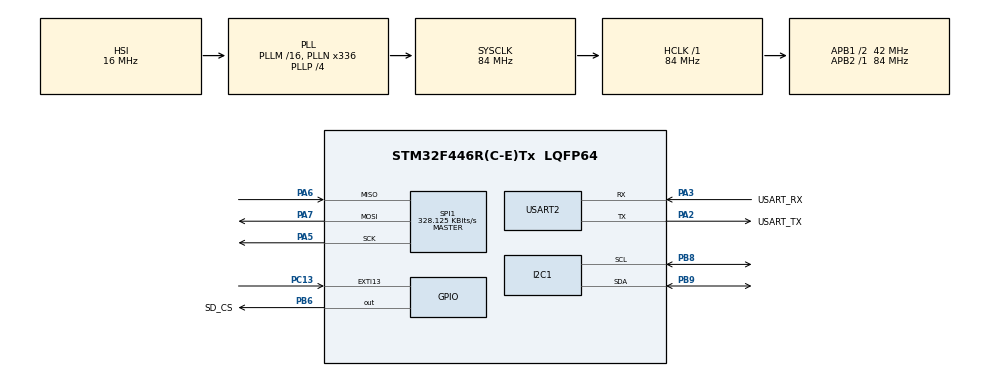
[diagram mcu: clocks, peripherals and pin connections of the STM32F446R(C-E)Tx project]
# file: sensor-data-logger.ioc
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Mcu.Family=STM32F4
Mcu.Name=STM32F446R(C-E)Tx
Mcu.Package=LQFP64
NUCLEO-F446RE.BUTTON=1
NUCLEO-F446RE.LD1=true
NVIC.EXTI15_10_IRQn=true\:0\:0\:false\:false\:true\:false\:true\:true
NVIC.PriorityGroup=NVIC_PRIORITYGROUP_0
NVIC.TIM6_DAC_IRQn=true\:0\:0\:false\:false\:true\:true\:true\:true
PA13.GPIO_Label=TMS
PA13.Mode=Serial_Wire
PA13.Signal=SYS_JTMS-SWDIO
PA14.GPIO_Label=TCK
PA14.Mode=Serial_Wire
PA14.Signal=SYS_JTCK-SWCLK
PA2.GPIO_Label=USART_TX
PA2.Mode=Asynchronous
PA2.Signal=USART2_TX
PA3.GPIO_Label=USART_RX
PA3.Mode=Asynchronous
PA3.Signal=USART2_RX
PA5.Mode=Full_Duplex_Master
PA5.Signal=SPI1_SCK
PA6.Mode=Full_Duplex_Master
PA6.Signal=SPI1_MISO
PA7.Mode=Full_Duplex_Master
PA7.Signal=SPI1_MOSI
PB10.Signal=SPI2_SCK
PB3.GPIO_Label=SWO
PB3.Signal=SYS_JTDO-SWO
PB6.GPIO_Label=SD_CS
PB6.GPIO_Speed=GPIO_SPEED_FREQ_HIGH
PB6.PinState=GPIO_PIN_SET
PB6.Signal=GPIO_Output
PB8.Mode=I2C
PB8.Signal=I2C1_SCL
PB9.Mode=I2C
PB9.Signal=I2C1_SDA
PC13.Signal=GPXTI13
PC14-OSC32_IN.Signal=RCC_OSC32_IN
PC15-OSC32_OUT.Signal=RCC_OSC32_OUT
PH0-OSC_IN.Signal=RCC_OSC_IN
PH1-OSC_OUT.Signal=RCC_OSC_OUT
ProjectManager.HeapSize=0x200
ProjectManager.StackSize=0x400
ProjectManager.TargetToolchain=CMake
RCC.AHBFreq_Value=84000000
RCC.APB1CLKDivider=RCC_HCLK_DIV2
RCC.APB1Freq_Value=42000000
RCC.APB1TimFreq_Value=84000000
RCC.APB2Freq_Value=84000000
RCC.APB2TimFreq_Value=84000000
RCC.CortexFreq_Value=84000000
RCC.FLatency-AdvancedSettings=FLASH_LATENCY_2
RCC.HCLKFreq_Value=84000000
RCC.HSE_VALUE=8000000
RCC.HSI_VALUE=16000000
RCC.LSE_VALUE=32768
RCC.PLLN=336
RCC.PLLP=RCC_PLLP_DIV4
RCC.SYSCLKFreq_VALUE=84000000
RCC.SYSCLKSource=RCC_SYSCLKSOURCE_PLLCLK
RCC.USBFreq_Value=168000000
RCC.VCOOutputFreq_Value=336000000
SPI1.BaudRatePrescaler=SPI_BAUDRATEPRESCALER_256
SPI1.CalculateBaudRate=328.125 KBits/s
SPI1.Direction=SPI_DIRECTION_2LINES
SPI1.Mode=SPI_MODE_MASTER
SPI1.VirtualType=VM_MASTER
TIM6.Period=999
TIM6.Prescaler=8399
USART2.VirtualMode=VM_ASYNC
VP_FATFS_VS_Generic.Mode=User_defined
VP_NUCLEO-F446RE_VS_BSP_COMMON.Mode=COMMON
VP_TIM6_VS_ClockSourceINT.Mode=Enable_Timer
board=NUCLEO-F446RE

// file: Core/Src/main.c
/* USER CODE BEGIN Header */
/**
  ******************************************************************************
  * @file           : main.c
  * @brief          : Main program body
  ******************************************************************************
  * @attention
  *
  * Copyright (c) 2026 STMicroelectronics.
  * All rights reserved.
  *
  * This software is licensed under terms that can be found in the LICENSE file
  * in the root directory of this software component.
  * If no LICENSE file comes with this software, it is provided AS-IS.
  *
  ******************************************************************************
  */
/* USER CODE END Header */
#include "main.h"
#include "fatfs.h"
#include "i2c.h"
#include "spi.h"
#include "tim.h"
#include "usart.h"
#include "gpio.h"

/* USER CODE BEGIN Includes */
// ttyACM0
#include <stdio.h>
#include <string.h>
#include "bme280.h"
#include "mpu6050.h"

/* USER CODE END Includes */

/* USER CODE BEGIN PD */
#define SAMPLE_BUFFER_SIZE 10

/* USER CODE END PD */

/* USER CODE BEGIN PV */
volatile uint8_t sensor_sample_flag = 0; // activated by TIM6

typedef struct {
  uint32_t timestamp_ms;

  float temperature;
  float pressure;
  float humidity;

  MPU6050_Data mpu;
} SensorSample;

SensorSample sample;
SensorSample sample_buffer[SAMPLE_BUFFER_SIZE];
uint8_t sample_count = 0;

/* USER CODE END PV */

void SystemClock_Config(void);

int main(void)
{

  /* MCU Configuration--------------------------------------------------------*/

  /* Reset of all peripherals, Initializes the Flash interface and the Systick. */
  HAL_Init();

  /* Configure the system clock */
  SystemClock_Config();

  /* Initialize all configured peripherals */
  MX_GPIO_Init();
  MX_I2C1_Init();
  MX_TIM6_Init();
  MX_USART2_UART_Init();
  MX_FATFS_Init();
  MX_SPI1_Init();
  /* USER CODE BEGIN 2 */
  BME280_Calibration calib;
  MPU6050_Data mpu_data;

  if (BME280_Init(&hi2c1, &calib) == HAL_OK) {
    char init_msg[] = "BME280 initialized!\r\n";
    HAL_UART_Transmit(&huart2, (uint8_t *)init_msg, strlen(init_msg), HAL_MAX_DELAY);
  } else {
    char init_msg[] = "BME280 initialization failed!\r\n";
    HAL_UART_Transmit(&huart2, (uint8_t *)init_msg, strlen(init_msg), HAL_MAX_DELAY);
  }

  if (MPU6050_Init(&hi2c1) == HAL_OK) {
    char init_msg[] = "MPU6050 initialized!\r\n";
    HAL_UART_Transmit(&huart2, (uint8_t *)init_msg, strlen(init_msg), HAL_MAX_DELAY);
  } else {
    char init_msg[] = "MPU6050 initialization failed!\r\n";
    HAL_UART_Transmit(&huart2, (uint8_t *)init_msg, strlen(init_msg), HAL_MAX_DELAY);
  }

  float temperature = BME280_ReadTemperature(&hi2c1, &calib);
  float pressure = BME280_ReadPressure(&hi2c1, &calib);
  float humidity = BME280_ReadHumidity(&hi2c1, &calib);

  char temp_msg[50];
  snprintf(temp_msg, sizeof(temp_msg), "Temperature: %.2f C\r\n", temperature);
  HAL_UART_Transmit(&huart2, (uint8_t *)temp_msg, strlen(temp_msg), HAL_MAX_DELAY);

  char press_msg[50];
  snprintf(press_msg, sizeof(press_msg), "Pressure: %.2f Pa\r\n", pressure);
  HAL_UART_Transmit(&huart2, (uint8_t *)press_msg, strlen(press_msg), HAL_MAX_DELAY);

  char hum_msg[50];
  snprintf(hum_msg, sizeof(hum_msg), "Humidity: %.2f %%\r\n", humidity);
  HAL_UART_Transmit(&huart2, (uint8_t *)hum_msg, strlen(hum_msg), HAL_MAX_DELAY);

  if (MPU6050_Read(&hi2c1, &mpu_data) == HAL_OK) {
      char msg[100];

      snprintf(msg, sizeof(msg),
              "Accel: X=%.2f g Y=%.2f g Z=%.2f g\r\n",
              mpu_data.accel_x,
              mpu_data.accel_y,
              mpu_data.accel_z);

      HAL_UART_Transmit(&huart2, (uint8_t *)msg, strlen(msg), HAL_MAX_DELAY);

      snprintf(msg, sizeof(msg),
              "Gyro: X=%.2f Y=%.2f Z=%.2f deg/s\r\n\n",
              mpu_data.gyro_x,
              mpu_data.gyro_y,
              mpu_data.gyro_z);

      HAL_UART_Transmit(&huart2, (uint8_t *)msg, strlen(msg), HAL_MAX_DELAY);
  } else {
      char msg[] = "MPU6050 read failed!\r\n";
      HAL_UART_Transmit(&huart2, (uint8_t *)msg, strlen(msg), HAL_MAX_DELAY);
  }

  HAL_TIM_Base_Start_IT(&htim6);

  /* USER CODE END 2 */

  /* Initialize leds */
  BSP_LED_Init(LED2);

  /* Initialize USER push-button, will be used to trigger an interrupt each time it's pressed.*/
  BSP_PB_Init(BUTTON_USER, BUTTON_MODE_EXTI);

  /* Infinite loop */
  while (1)
  {

    /* USER CODE BEGIN 3 */

    if (sensor_sample_flag) {
      sensor_sample_flag = 0;

      float temperature = BME280_ReadTemperature(&hi2c1, &calib);
      float pressure = BME280_ReadPressure(&hi2c1, &calib);
      float humidity = BME280_ReadHumidity(&hi2c1, &calib);

      MPU6050_Read(&hi2c1, &mpu_data);

      sample.timestamp_ms = HAL_GetTick();
      sample.temperature = temperature;
      sample.pressure = pressure;
      sample.humidity = humidity;
      sample.mpu = mpu_data;

      if (sample_count < SAMPLE_BUFFER_SIZE) {
        sample_buffer[sample_count] = sample;
        sample_count++;
      }

      if (sample_count == SAMPLE_BUFFER_SIZE) {
        sample_count = 0;
      }
    }
  }
  /* USER CODE END 3 */
}

void SystemClock_Config(void)
{
  RCC_OscInitTypeDef RCC_OscInitStruct = {0};
  RCC_ClkInitTypeDef RCC_ClkInitStruct = {0};

  /** Configure the main internal regulator output voltage
  */
  __HAL_RCC_PWR_CLK_ENABLE();
  __HAL_PWR_VOLTAGESCALING_CONFIG(PWR_REGULATOR_VOLTAGE_SCALE3);

  /** Initializes the RCC Oscillators according to the specified parameters
  * in the RCC_OscInitTypeDef structure.
  */
  RCC_OscInitStruct.OscillatorType = RCC_OSCILLATORTYPE_HSI;
  RCC_OscInitStruct.HSIState = RCC_HSI_ON;
  RCC_OscInitStruct.HSICalibrationValue = RCC_HSICALIBRATION_DEFAULT;
  RCC_OscInitStruct.PLL.PLLState = RCC_PLL_ON;
  RCC_OscInitStruct.PLL.PLLSource = RCC_PLLSOURCE_HSI;
  RCC_OscInitStruct.PLL.PLLM = 16;
  RCC_OscInitStruct.PLL.PLLN = 336;
  RCC_OscInitStruct.PLL.PLLP = RCC_PLLP_DIV4;
  RCC_OscInitStruct.PLL.PLLQ = 2;
  RCC_OscInitStruct.PLL.PLLR = 2;
  if (HAL_RCC_OscConfig(&RCC_OscInitStruct) != HAL_OK)
  {
    Error_Handler();
  }

  /** Initializes the CPU, AHB and APB buses clocks
  */
  RCC_ClkInitStruct.ClockType = RCC_CLOCKTYPE_HCLK|RCC_CLOCKTYPE_SYSCLK
                              |RCC_CLOCKTYPE_PCLK1|RCC_CLOCKTYPE_PCLK2;
  RCC_ClkInitStruct.SYSCLKSource = RCC_SYSCLKSOURCE_PLLCLK;
  RCC_ClkInitStruct.AHBCLKDivider = RCC_SYSCLK_DIV1;
  RCC_ClkInitStruct.APB1CLKDivider = RCC_HCLK_DIV2;
  RCC_ClkInitStruct.APB2CLKDivider = RCC_HCLK_DIV1;

  if (HAL_RCC_ClockConfig(&RCC_ClkInitStruct, FLASH_LATENCY_2) != HAL_OK)
  {
    Error_Handler();
  }
}

/* USER CODE BEGIN 4 */
void HAL_TIM_PeriodElapsedCallback(TIM_HandleTypeDef *htim) {
  if (htim->Instance == TIM6) {
    sensor_sample_flag = 1;
  }
}

/* USER CODE END 4 */

void Error_Handler(void)
{
  __disable_irq();
  while (1)
  {
  }
}
